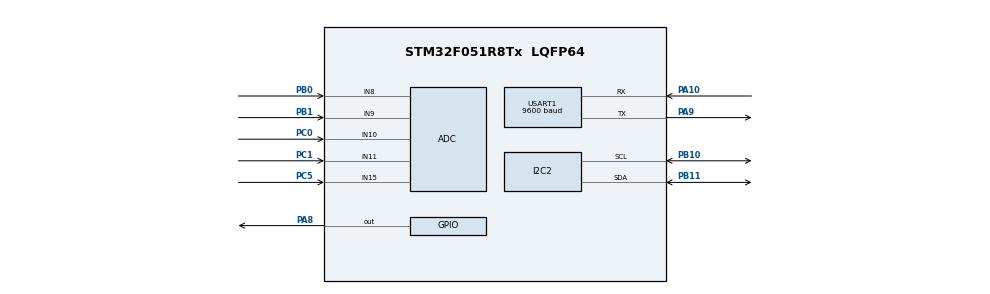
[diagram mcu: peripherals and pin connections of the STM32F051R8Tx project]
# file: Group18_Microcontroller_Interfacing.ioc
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Mcu.Family=STM32F0
Mcu.Name=STM32F051R8Tx
Mcu.Package=LQFP64
PA10.Mode=Asynchronous
PA10.Signal=USART1_RX
PA8.Signal=GPIO_Output
PA9.Mode=Asynchronous
PA9.Signal=USART1_TX
PB0.Mode=IN8
PB0.Signal=ADC_IN8
PB1.Mode=IN9
PB1.Signal=ADC_IN9
PB10.Mode=I2C
PB10.Signal=I2C2_SCL
PB11.Mode=I2C
PB11.Signal=I2C2_SDA
PC0.Mode=IN10
PC0.Signal=ADC_IN10
PC1.Mode=IN11
PC1.Signal=ADC_IN11
PC5.Mode=IN15
PC5.Signal=ADC_IN15
ProjectManager.HeapSize=0x200
ProjectManager.StackSize=0x400
ProjectManager.TargetToolchain=STM32CubeIDE
USART1.BaudRate=9600
USART1.VirtualMode-Asynchronous=VM_ASYNC
board=custom

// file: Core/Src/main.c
/* USER CODE BEGIN Header */
/**
  ******************************************************************************
  * @file           : main.c
  * @brief          : Main program body
  ******************************************************************************
  * @attention
  *
  * Copyright (c) 2022 STMicroelectronics.
  * All rights reserved.
  *
  * This software is licensed under terms that can be found in the LICENSE file
  * in the root directory of this software component.
  * If no LICENSE file comes with this software, it is provided AS-IS.
  *
  ******************************************************************************
  */
/* USER CODE END Header */
#include "main.h"

/* USER CODE BEGIN Includes */
#include "string.h"

/* USER CODE END Includes */

 ADC_HandleTypeDef hadc;

I2C_HandleTypeDef hi2c2;

UART_HandleTypeDef huart1;

void SystemClock_Config(void);
static void MX_GPIO_Init(void);
static void MX_ADC_Init(void);
static void MX_I2C2_Init(void);
static void MX_USART1_UART_Init(void);
void debugPrintln(UART_HandleTypeDef *uart_handle, char _out[]);
void demoDataTransfer();
void checkAddress(UART_HandleTypeDef * huart, I2C_HandleTypeDef * hi2c, uint16_t DevAddress, uint32_t Num_Trials, uint32_t Timeout);
void writeToI2C(uint16_t EEPROM_DEVICE_ADDR, uint8_t madd, uint8_t Data, uint8_t Result);
void readFromI2C(uint16_t EEPROM_DEVICE_ADDR, uint8_t madd, uint8_t Data, uint8_t Result);
void lightSensingInit();

/* USER CODE BEGIN 0 */
	//General purpose Function to send a char array over
	//the UART and to automatically send a new line
	//character after it
	void debugPrintln(UART_HandleTypeDef *uart_handle, char _out[]){
		HAL_UART_Transmit(uart_handle, (uint8_t *) _out, strlen(_out), 60);
		char newline[2] = "\r\n";
		HAL_UART_Transmit(uart_handle, (uint8_t *) newline, 2, 10);
	}

	//Demo sending data over UART to laptop
	void demoDataTransfer(){
	debugPrintln(&huart1, "Hello, this is STMF0 Discovery board"); // print full line
	//Flash Blue LED
	HAL_GPIO_TogglePin(GPIOC, GPIO_PIN_8);
	HAL_Delay(1000);
	}

	void checkAddress(UART_HandleTypeDef * huart, I2C_HandleTypeDef * hi2c, uint16_t DevAddress, uint32_t Num_Trials, uint32_t Timeout){
		uint8_t i = 0, I2Creturn;
		uint8_t strbuf[40] = { 0 };

		for (i = 1; i < 128; i++) {
			I2Creturn = HAL_I2C_IsDeviceReady(&hi2c,DevAddress, Num_Trials, Timeout);
			if (I2Creturn != HAL_OK){ //No ACK Received At That Address
				debugPrintln(&huart, "No ACK recieved");
			}

			else if (I2Creturn == HAL_OK) { //ACK Received At That Address
				sprintf(strbuf, "ACK received on address: 0x%X", i);
				debugPrintln(&huart, strbuf);
			}

			HAL_Delay(100);
		}

		debugPrintln(&huart, "#######Scanning done######");
	}

	void writeToI2C(uint16_t EEPROM_DEVICE_ADDR, uint8_t madd, uint8_t Data, uint8_t Result) {
		uint8_t *sData = &Data;
		uint8_t *rData = &Result;
		memset(str, 0, sizeof(str));
		sprintf(str, "Writing 0x%X to EEPROM address 0x%X", Data, madd);
		debugPrintln(&huart2, str);
		I2CReturn = HAL_I2C_Mem_Write(&hi2c1, EEPROM_DEVICE_ADDR, madd, 2, sData, 1, HAL_MAX_DELAY);
		if (I2CReturn != HAL_OK) {
		debugPrintln(&huart2, "Write to address FAILED");
		}

	}

	void readFromI2C(uint16_t EEPROM_DEVICE_ADDR, uint8_t madd, uint8_t Data, uint8_t Result) {
		uint8_t *sData = &Data;
		uint8_t *rData = &Result;
		memset(str, 0, sizeof(str));
		sprintf(str, "Reading from EEPROM address 0x%X ", madd);
		debugPrintln(&huart2, str);
		I2CReturn = HAL_I2C_Mem_Read(&hi2c1, EEPROM_DEVICE_ADDR, madd, 2, rData, 1, HAL_MAX_DELAY);
		if (I2CReturn != HAL_OK) {
		debugPrintln(&huart2, "Read from address FAILED");
	}

    void lightSensingInit(){
        // Test case: Set GPIO pin high.
        //HAL_GPIO_WritePin(GPIOA, GPIO_PIN_10, GPIO_PIN_SET);

        // Get ADC values for 2 pins that the LDRS are connected to.
        HAL_ADC_Start(&hadc1); //Start HAL_ADC for first ADC pin.
        HAL_ADC_Start(&hadc2); //Start HAL_ADC for second ADC pin.
        HAL_ADC_PollForConversion(&hadc1, HAL_MAX_DELAY); //Poll ADC pin 1 for conversion (of the first LDR).
        raw = HAL_ADC_GetValue(&hadc1); //Get digital value
        HAL_ADC_PollForConversion(&hadc2, HAL_MAX_DELAY); //Poll ADC pin 2 for conversion (of the second LDR).
        raw2 = HAL_ADC_GetValue(&hadc2); //Get digital value.

        // Test: Set GPIO pin low
        //HAL_GPIO_WritePin(GPIOA, GPIO_PIN_10, GPIO_PIN_RESET);
        if (raw>raw2){ //if LDR1 has more light on it than LDR2:
            HAL_GPIO_WritePin(GPIOB, GPIO_PIN_12, GPIO_PIN_RESET); //Turn LDR2 off.
            HAL_GPIO_WritePin(GPIOA, GPIO_PIN_10, GPIO_PIN_SET); //Turn LDR1 on.
        }
        else if (raw2>raw){ //else, if LDR2 has more light on it than LDR1:
            HAL_GPIO_WritePin(GPIOA, GPIO_PIN_10, GPIO_PIN_RESET); //Turn LDR1 off.
            HAL_GPIO_WritePin(GPIOB, GPIO_PIN_12, GPIO_PIN_SET); //Turn LDR2 on.
        }
        // Convert to string and print
        sprintf(msg, "%hu\r\n", raw);
        HAL_UART_Transmit(&huart2, (uint8_t*)msg, strlen(msg), HAL_MAX_DELAY);
        sprintf(msg, "%hu\r\n", raw2);
        HAL_UART_Transmit(&huart2, (uint8_t*)msg, strlen(msg), HAL_MAX_DELAY);
        // Pretend we have to do something else for a while
        HAL_Delay(1);
    }

/* USER CODE END 0 */

int main(void)
{

  /* MCU Configuration--------------------------------------------------------*/

  /* Reset of all peripherals, Initializes the Flash interface and the Systick. */
  HAL_Init();

  /* Configure the system clock */
  SystemClock_Config();

  /* Initialize all configured peripherals */
  MX_GPIO_Init();
  MX_ADC_Init();
  MX_I2C2_Init();
  MX_USART1_UART_Init();
  /* USER CODE BEGIN 2 */
  checkAddress(&huart1, &hi2c1,(uint16_t) (i << 1), 3, 5);

  char str[60] = { 0 }; //Useful buffer for printing to UART
  uint8_t I2CReturn = 0; //Status var to indicate if HAL_I2C operation has succeeded (1) or failed (0);
  uint8_t i, j, Loop = 0; //Loop counters

  //Setup variables for reading and writing
  uint16_t EEPROM_DEVICE_ADDR = 0x55 << 1; //Address of EEPROM device on I2C bus
  uint16_t madd = 0x00; //Memory address variable containing a starting memory address for a location of memory in the EEPROM
  uint8_t Data = 0x10;//Data variable containing sStarting value to write to memory, could be any 8bit value
  uint8_t *sData = &Data; //Pointer to sending Data variable
  uint8_t Result = 0x00; //Variable to stored value read back from memory in
  uint8_t *rData = &Result; //Pointer to result data variable
  //Say hello over UART
  debugPrintln(&huart1, "Hello, this is STMF0 Discovery board: ");

  /* USER CODE END 2 */

  /* Infinite loop */
  /* USER CODE BEGIN WHILE */
  while (1)
  {
      //LDR TESTING FUNCTION CALL:
      lightSensingInit(); //This toggles the connected LEDs depending on the light on the LDRS on the HAT.

    /* USER CODE END WHILE */
	  //Demo sending data over UART to laptop
	  //uncomment out the following line and comment all other loop code out to test sending data over UART to laptop
	  //demoDataTransfer();

	  //Print and increment a loop counter for visual tracking/debugging purposes only
	  memset(str, 0, sizeof(str)); //Reset str to zeros
	  sprintf(str, "\rLoop count %d\n", Loop);//Format string to include the loop counter variable
	  debugPrintln(&huart2, str);
	  Loop = Loop + 1;

	  //Write and read back 5 different values to 5 different memory locations
	  for (i = 0; i < 5; i++) {
		  writeToI2C(EEPROM_DEVICE_ADDR, madd, Data, Result);
		  readFromI2C(EEPROM_DEVICE_ADDR, madd, Data, Result);
		  //PRINT READ VALUE
		  memset(str, 0, sizeof(str));
		  sprintf(str, "Received data: 0x%X \n", Result);
		  debugPrintln(&huart2, str);
		  //Increment address and data values and clear Result holder
		  madd = madd + 1;
		  Data = Data + 1;
		  Result = 0x00;
		  HAL_Delay(1000); //Pause
		  } //End for loop of reading and writing 5 addresses

	  //Read back last 5 values again:
	  madd = madd - 5;
	  for (j = 0; j < 5; j++) {
		  I2CReturn = HAL_I2C_Mem_Read(&hi2c1, EEPROM_DEVICE_ADDR, madd, 2, rData, 1, HAL_MAX_DELAY);
	  if (I2CReturn != HAL_OK) {
		  debugPrintln(&huart2, "Read from address FAILED");
	  }

	  //PRINT READ VALUE
	  memset(str, 0, sizeof(str));
	  sprintf(str, "Address 0x%X contains: 0x%X ", madd, Result);
	  debugPrintln(&huart2, str);
	  madd = madd + 1;
	  }

	  debugPrintln(&huart2, "-------------"); //Draw a line under a series of 5 before next while loop begins
	  //Flash Blue LED as visual check code is running
	  HAL_GPIO_TogglePin(GPIOC, GPIO_PIN_8);
	  HAL_Delay(DELAY);

	  }

  }
}

void SystemClock_Config(void)
{
  RCC_OscInitTypeDef RCC_OscInitStruct = {0};
  RCC_ClkInitTypeDef RCC_ClkInitStruct = {0};
  RCC_PeriphCLKInitTypeDef PeriphClkInit = {0};

  /** Initializes the RCC Oscillators according to the specified parameters
  * in the RCC_OscInitTypeDef structure.
  */
  RCC_OscInitStruct.OscillatorType = RCC_OSCILLATORTYPE_HSI|RCC_OSCILLATORTYPE_HSI14;
  RCC_OscInitStruct.HSIState = RCC_HSI_ON;
  RCC_OscInitStruct.HSI14State = RCC_HSI14_ON;
  RCC_OscInitStruct.HSICalibrationValue = RCC_HSICALIBRATION_DEFAULT;
  RCC_OscInitStruct.HSI14CalibrationValue = 16;
  RCC_OscInitStruct.PLL.PLLState = RCC_PLL_NONE;
  if (HAL_RCC_OscConfig(&RCC_OscInitStruct) != HAL_OK)
  {
    Error_Handler();
  }

  /** Initializes the CPU, AHB and APB buses clocks
  */
  RCC_ClkInitStruct.ClockType = RCC_CLOCKTYPE_HCLK|RCC_CLOCKTYPE_SYSCLK
                              |RCC_CLOCKTYPE_PCLK1;
  RCC_ClkInitStruct.SYSCLKSource = RCC_SYSCLKSOURCE_HSI;
  RCC_ClkInitStruct.AHBCLKDivider = RCC_SYSCLK_DIV1;
  RCC_ClkInitStruct.APB1CLKDivider = RCC_HCLK_DIV1;

  if (HAL_RCC_ClockConfig(&RCC_ClkInitStruct, FLASH_LATENCY_0) != HAL_OK)
  {
    Error_Handler();
  }
  PeriphClkInit.PeriphClockSelection = RCC_PERIPHCLK_USART1;
  PeriphClkInit.Usart1ClockSelection = RCC_USART1CLKSOURCE_PCLK1;
  if (HAL_RCCEx_PeriphCLKConfig(&PeriphClkInit) != HAL_OK)
  {
    Error_Handler();
  }
}

static void MX_ADC_Init(void)
{

  ADC_ChannelConfTypeDef sConfig = {0};

  /** Configure the global features of the ADC (Clock, Resolution, Data Alignment and number of conversion)
  */
  hadc.Instance = ADC1;
  hadc.Init.ClockPrescaler = ADC_CLOCK_ASYNC_DIV1;
  hadc.Init.Resolution = ADC_RESOLUTION_12B;
  hadc.Init.DataAlign = ADC_DATAALIGN_RIGHT;
  hadc.Init.ScanConvMode = ADC_SCAN_DIRECTION_FORWARD;
  hadc.Init.EOCSelection = ADC_EOC_SINGLE_CONV;
  hadc.Init.LowPowerAutoWait = DISABLE;
  hadc.Init.LowPowerAutoPowerOff = DISABLE;
  hadc.Init.ContinuousConvMode = DISABLE;
  hadc.Init.DiscontinuousConvMode = DISABLE;
  hadc.Init.ExternalTrigConv = ADC_SOFTWARE_START;
  hadc.Init.ExternalTrigConvEdge = ADC_EXTERNALTRIGCONVEDGE_NONE;
  hadc.Init.DMAContinuousRequests = DISABLE;
  hadc.Init.Overrun = ADC_OVR_DATA_PRESERVED;
  if (HAL_ADC_Init(&hadc) != HAL_OK)
  {
    Error_Handler();
  }

  /** Configure for the selected ADC regular channel to be converted.
  */
  sConfig.Channel = ADC_CHANNEL_8;
  sConfig.Rank = ADC_RANK_CHANNEL_NUMBER;
  sConfig.SamplingTime = ADC_SAMPLETIME_1CYCLE_5;
  if (HAL_ADC_ConfigChannel(&hadc, &sConfig) != HAL_OK)
  {
    Error_Handler();
  }

  /** Configure for the selected ADC regular channel to be converted.
  */
  sConfig.Channel = ADC_CHANNEL_9;
  if (HAL_ADC_ConfigChannel(&hadc, &sConfig) != HAL_OK)
  {
    Error_Handler();
  }

  /** Configure for the selected ADC regular channel to be converted.
  */
  sConfig.Channel = ADC_CHANNEL_10;
  if (HAL_ADC_ConfigChannel(&hadc, &sConfig) != HAL_OK)
  {
    Error_Handler();
  }

  /** Configure for the selected ADC regular channel to be converted.
  */
  sConfig.Channel = ADC_CHANNEL_11;
  if (HAL_ADC_ConfigChannel(&hadc, &sConfig) != HAL_OK)
  {
    Error_Handler();
  }

  /** Configure for the selected ADC regular channel to be converted.
  */
  sConfig.Channel = ADC_CHANNEL_15;
  if (HAL_ADC_ConfigChannel(&hadc, &sConfig) != HAL_OK)
  {
    Error_Handler();
  }

}

static void MX_I2C2_Init(void)
{

  hi2c2.Instance = I2C2;
  hi2c2.Init.Timing = 0x2000090E;
  hi2c2.Init.OwnAddress1 = 0;
  hi2c2.Init.AddressingMode = I2C_ADDRESSINGMODE_7BIT;
  hi2c2.Init.DualAddressMode = I2C_DUALADDRESS_DISABLE;
  hi2c2.Init.OwnAddress2 = 0;
  hi2c2.Init.OwnAddress2Masks = I2C_OA2_NOMASK;
  hi2c2.Init.GeneralCallMode = I2C_GENERALCALL_DISABLE;
  hi2c2.Init.NoStretchMode = I2C_NOSTRETCH_DISABLE;
  if (HAL_I2C_Init(&hi2c2) != HAL_OK)
  {
    Error_Handler();
  }

  /** Configure Analogue filter
  */
  if (HAL_I2CEx_ConfigAnalogFilter(&hi2c2, I2C_ANALOGFILTER_ENABLE) != HAL_OK)
  {
    Error_Handler();
  }

  /** Configure Digital filter
  */
  if (HAL_I2CEx_ConfigDigitalFilter(&hi2c2, 0) != HAL_OK)
  {
    Error_Handler();
  }

}

static void MX_USART1_UART_Init(void)
{

  huart1.Instance = USART1;
  huart1.Init.BaudRate = 9600;
  huart1.Init.WordLength = UART_WORDLENGTH_8B;
  huart1.Init.StopBits = UART_STOPBITS_1;
  huart1.Init.Parity = UART_PARITY_NONE;
  huart1.Init.Mode = UART_MODE_TX_RX;
  huart1.Init.HwFlowCtl = UART_HWCONTROL_NONE;
  huart1.Init.OverSampling = UART_OVERSAMPLING_16;
  huart1.Init.OneBitSampling = UART_ONE_BIT_SAMPLE_DISABLE;
  huart1.AdvancedInit.AdvFeatureInit = UART_ADVFEATURE_NO_INIT;
  if (HAL_UART_Init(&huart1) != HAL_OK)
  {
    Error_Handler();
  }

}

static void MX_GPIO_Init(void)
{
  GPIO_InitTypeDef GPIO_InitStruct = {0};

  /* GPIO Ports Clock Enable */
  __HAL_RCC_GPIOC_CLK_ENABLE();
  __HAL_RCC_GPIOB_CLK_ENABLE();
  __HAL_RCC_GPIOA_CLK_ENABLE();

  /*Configure GPIO pin Output Level */
  HAL_GPIO_WritePin(GPIOA, GPIO_PIN_8, GPIO_PIN_RESET);

  /*Configure GPIO pin : PA8 */
  GPIO_InitStruct.Pin = GPIO_PIN_8;
  GPIO_InitStruct.Mode = GPIO_MODE_OUTPUT_PP;
  GPIO_InitStruct.Pull = GPIO_NOPULL;
  GPIO_InitStruct.Speed = GPIO_SPEED_FREQ_LOW;
  HAL_GPIO_Init(GPIOA, &GPIO_InitStruct);

}

void Error_Handler(void)
{
  __disable_irq();
  while (1)
  {
  }
}
